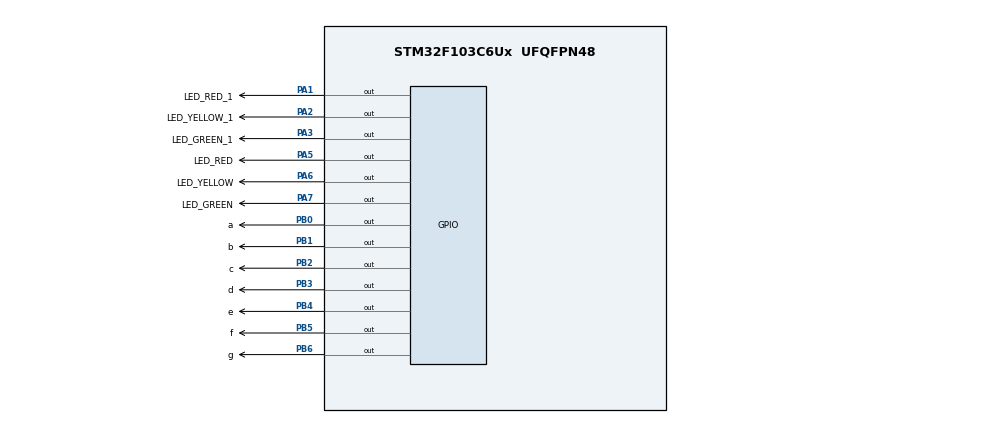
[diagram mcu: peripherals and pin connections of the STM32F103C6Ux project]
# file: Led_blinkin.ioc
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Mcu.Family=STM32F1
Mcu.Name=STM32F103C6Ux
Mcu.Package=UFQFPN48
NVIC.PriorityGroup=NVIC_PRIORITYGROUP_4
PA1.GPIO_Label=LED_RED_1
PA1.Signal=GPIO_Output
PA2.GPIO_Label=LED_YELLOW_1
PA2.Signal=GPIO_Output
PA3.GPIO_Label=LED_GREEN_1
PA3.Signal=GPIO_Output
PA5.GPIO_Label=LED_RED
PA5.Signal=GPIO_Output
PA6.GPIO_Label=LED_YELLOW
PA6.Signal=GPIO_Output
PA7.GPIO_Label=LED_GREEN
PA7.Signal=GPIO_Output
PB0.GPIO_Label=a
PB0.Signal=GPIO_Output
PB1.GPIO_Label=b
PB1.Signal=GPIO_Output
PB2.GPIO_Label=c
PB2.Signal=GPIO_Output
PB3.GPIO_Label=d
PB3.Signal=GPIO_Output
PB4.GPIO_Label=e
PB4.Signal=GPIO_Output
PB5.GPIO_Label=f
PB5.Signal=GPIO_Output
PB6.GPIO_Label=g
PB6.Signal=GPIO_Output
ProjectManager.HeapSize=0x200
ProjectManager.StackSize=0x400
ProjectManager.TargetToolchain=STM32CubeIDE
RCC.APB1Freq_Value=8000000
RCC.APB2Freq_Value=8000000
VP_SYS_VS_ND.Mode=No_Debug
board=custom

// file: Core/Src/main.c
/* USER CODE BEGIN Header */
/**
  ******************************************************************************
  * @file           : main.c
  * @brief          : Main program body
  ******************************************************************************
  * @attention
  *
  * <h2><center>&copy; Copyright (c) 2022 STMicroelectronics.
  * All rights reserved.</center></h2>
  *
  * This software component is licensed by ST under BSD 3-Clause license,
  * the "License"; You may not use this file except in compliance with the
  * License. You may obtain a copy of the License at:
  *                        opensource.org/licenses/BSD-3-Clause
  *
  ******************************************************************************
  */
/* USER CODE END Header */
#include "main.h"

void SystemClock_Config(void);
static void MX_GPIO_Init(void);

/* USER CODE BEGIN 0 */
void display7SEG(int numb)
{
	if(numb == 0)
	{
		HAL_GPIO_WritePin(a_GPIO_Port, a_Pin, GPIO_PIN_RESET);
		HAL_GPIO_WritePin(b_GPIO_Port, b_Pin, GPIO_PIN_RESET);
		HAL_GPIO_WritePin(c_GPIO_Port, c_Pin, GPIO_PIN_RESET);
		HAL_GPIO_WritePin(d_GPIO_Port, d_Pin, GPIO_PIN_RESET);
		HAL_GPIO_WritePin(e_GPIO_Port, e_Pin, GPIO_PIN_RESET);
		HAL_GPIO_WritePin(f_GPIO_Port, f_Pin, GPIO_PIN_RESET);
		HAL_GPIO_WritePin(g_GPIO_Port, g_Pin, GPIO_PIN_SET);
	}
	if(numb == 1)
	{
		HAL_GPIO_WritePin(a_GPIO_Port, a_Pin, GPIO_PIN_SET);
		HAL_GPIO_WritePin(b_GPIO_Port, b_Pin, GPIO_PIN_RESET);
		HAL_GPIO_WritePin(c_GPIO_Port, c_Pin, GPIO_PIN_RESET);
		HAL_GPIO_WritePin(d_GPIO_Port, d_Pin, GPIO_PIN_SET);
		HAL_GPIO_WritePin(e_GPIO_Port, e_Pin, GPIO_PIN_SET);
		HAL_GPIO_WritePin(f_GPIO_Port, f_Pin, GPIO_PIN_SET);
		HAL_GPIO_WritePin(g_GPIO_Port, g_Pin, GPIO_PIN_SET);
	}
	if(numb == 2)
	{
		HAL_GPIO_WritePin(a_GPIO_Port, a_Pin, GPIO_PIN_RESET);
		HAL_GPIO_WritePin(b_GPIO_Port, b_Pin, GPIO_PIN_RESET);
		HAL_GPIO_WritePin(c_GPIO_Port, c_Pin, GPIO_PIN_SET);
		HAL_GPIO_WritePin(d_GPIO_Port, d_Pin, GPIO_PIN_RESET);
		HAL_GPIO_WritePin(e_GPIO_Port, e_Pin, GPIO_PIN_RESET);
		HAL_GPIO_WritePin(f_GPIO_Port, f_Pin, GPIO_PIN_SET);
		HAL_GPIO_WritePin(g_GPIO_Port, g_Pin, GPIO_PIN_RESET);
	}
	if(numb == 3)
	{
		HAL_GPIO_WritePin(a_GPIO_Port, a_Pin, GPIO_PIN_RESET);
		HAL_GPIO_WritePin(b_GPIO_Port, b_Pin, GPIO_PIN_RESET);
		HAL_GPIO_WritePin(c_GPIO_Port, c_Pin, GPIO_PIN_RESET);
		HAL_GPIO_WritePin(d_GPIO_Port, d_Pin, GPIO_PIN_RESET);
		HAL_GPIO_WritePin(e_GPIO_Port, e_Pin, GPIO_PIN_SET);
		HAL_GPIO_WritePin(f_GPIO_Port, f_Pin, GPIO_PIN_SET);
		HAL_GPIO_WritePin(g_GPIO_Port, g_Pin, GPIO_PIN_RESET);
	}
	if(numb == 4)
		{
			HAL_GPIO_WritePin(a_GPIO_Port, a_Pin, GPIO_PIN_SET);
			HAL_GPIO_WritePin(b_GPIO_Port, b_Pin, GPIO_PIN_RESET);
			HAL_GPIO_WritePin(c_GPIO_Port, c_Pin, GPIO_PIN_RESET);
			HAL_GPIO_WritePin(d_GPIO_Port, d_Pin, GPIO_PIN_SET);
			HAL_GPIO_WritePin(e_GPIO_Port, e_Pin, GPIO_PIN_SET);
			HAL_GPIO_WritePin(f_GPIO_Port, f_Pin, GPIO_PIN_RESET);
			HAL_GPIO_WritePin(g_GPIO_Port, g_Pin, GPIO_PIN_RESET);
		}
	if(numb == 5)
		{
			HAL_GPIO_WritePin(a_GPIO_Port, a_Pin, GPIO_PIN_RESET);
			HAL_GPIO_WritePin(b_GPIO_Port, b_Pin, GPIO_PIN_SET);
			HAL_GPIO_WritePin(c_GPIO_Port, c_Pin, GPIO_PIN_RESET);
			HAL_GPIO_WritePin(d_GPIO_Port, d_Pin, GPIO_PIN_RESET);
			HAL_GPIO_WritePin(e_GPIO_Port, e_Pin, GPIO_PIN_SET);
			HAL_GPIO_WritePin(f_GPIO_Port, f_Pin, GPIO_PIN_RESET);
			HAL_GPIO_WritePin(g_GPIO_Port, g_Pin, GPIO_PIN_RESET);
		}
	if(numb == 6)
		{
			HAL_GPIO_WritePin(a_GPIO_Port, a_Pin, GPIO_PIN_RESET);
			HAL_GPIO_WritePin(b_GPIO_Port, b_Pin, GPIO_PIN_SET);
			HAL_GPIO_WritePin(c_GPIO_Port, c_Pin, GPIO_PIN_RESET);
			HAL_GPIO_WritePin(d_GPIO_Port, d_Pin, GPIO_PIN_RESET);
			HAL_GPIO_WritePin(e_GPIO_Port, e_Pin, GPIO_PIN_RESET);
			HAL_GPIO_WritePin(f_GPIO_Port, f_Pin, GPIO_PIN_RESET);
			HAL_GPIO_WritePin(g_GPIO_Port, g_Pin, GPIO_PIN_RESET);
		}
	if(numb == 7)
		{
			HAL_GPIO_WritePin(a_GPIO_Port, a_Pin, GPIO_PIN_RESET);
			HAL_GPIO_WritePin(b_GPIO_Port, b_Pin, GPIO_PIN_RESET);
			HAL_GPIO_WritePin(c_GPIO_Port, c_Pin, GPIO_PIN_RESET);
			HAL_GPIO_WritePin(d_GPIO_Port, d_Pin, GPIO_PIN_SET);
			HAL_GPIO_WritePin(e_GPIO_Port, e_Pin, GPIO_PIN_SET);
			HAL_GPIO_WritePin(f_GPIO_Port, f_Pin, GPIO_PIN_SET);
			HAL_GPIO_WritePin(g_GPIO_Port, g_Pin, GPIO_PIN_SET);
		}
	if(numb == 8)
		{
			HAL_GPIO_WritePin(a_GPIO_Port, a_Pin, GPIO_PIN_RESET);
			HAL_GPIO_WritePin(b_GPIO_Port, b_Pin, GPIO_PIN_RESET);
			HAL_GPIO_WritePin(c_GPIO_Port, c_Pin, GPIO_PIN_RESET);
			HAL_GPIO_WritePin(d_GPIO_Port, d_Pin, GPIO_PIN_RESET);
			HAL_GPIO_WritePin(e_GPIO_Port, e_Pin, GPIO_PIN_RESET);
			HAL_GPIO_WritePin(f_GPIO_Port, f_Pin, GPIO_PIN_RESET);
			HAL_GPIO_WritePin(g_GPIO_Port, g_Pin, GPIO_PIN_RESET);
		}
	if(numb == 9)
		{
			HAL_GPIO_WritePin(a_GPIO_Port, a_Pin, GPIO_PIN_RESET);
			HAL_GPIO_WritePin(b_GPIO_Port, b_Pin, GPIO_PIN_RESET);
			HAL_GPIO_WritePin(c_GPIO_Port, c_Pin, GPIO_PIN_RESET);
			HAL_GPIO_WritePin(d_GPIO_Port, d_Pin, GPIO_PIN_RESET);
			HAL_GPIO_WritePin(e_GPIO_Port, e_Pin, GPIO_PIN_SET);
			HAL_GPIO_WritePin(f_GPIO_Port, f_Pin, GPIO_PIN_RESET);
			HAL_GPIO_WritePin(g_GPIO_Port, g_Pin, GPIO_PIN_RESET);
		}

}
/* USER CODE END 0 */

int main(void)
{

  /* MCU Configuration--------------------------------------------------------*/

  /* Reset of all peripherals, Initializes the Flash interface and the Systick. */
  HAL_Init();

  /* Configure the system clock */
  SystemClock_Config();

  /* Initialize all configured peripherals */
  MX_GPIO_Init();

  /* Infinite loop */
  /* USER CODE BEGIN WHILE */
  int counter = 0;
  while (1)
  {
	  if ( counter >= 10) counter = 0;
	  display7SEG ( counter ++) ;
	  HAL_Delay (1000) ;

    /* USER CODE END WHILE */

  }
}

void SystemClock_Config(void)
{
  RCC_OscInitTypeDef RCC_OscInitStruct = {0};
  RCC_ClkInitTypeDef RCC_ClkInitStruct = {0};

  /** Initializes the RCC Oscillators according to the specified parameters
  * in the RCC_OscInitTypeDef structure.
  */
  RCC_OscInitStruct.OscillatorType = RCC_OSCILLATORTYPE_HSI;
  RCC_OscInitStruct.HSIState = RCC_HSI_ON;
  RCC_OscInitStruct.HSICalibrationValue = RCC_HSICALIBRATION_DEFAULT;
  RCC_OscInitStruct.PLL.PLLState = RCC_PLL_NONE;
  if (HAL_RCC_OscConfig(&RCC_OscInitStruct) != HAL_OK)
  {
    Error_Handler();
  }
  /** Initializes the CPU, AHB and APB buses clocks
  */
  RCC_ClkInitStruct.ClockType = RCC_CLOCKTYPE_HCLK|RCC_CLOCKTYPE_SYSCLK
                              |RCC_CLOCKTYPE_PCLK1|RCC_CLOCKTYPE_PCLK2;
  RCC_ClkInitStruct.SYSCLKSource = RCC_SYSCLKSOURCE_HSI;
  RCC_ClkInitStruct.AHBCLKDivider = RCC_SYSCLK_DIV1;
  RCC_ClkInitStruct.APB1CLKDivider = RCC_HCLK_DIV1;
  RCC_ClkInitStruct.APB2CLKDivider = RCC_HCLK_DIV1;

  if (HAL_RCC_ClockConfig(&RCC_ClkInitStruct, FLASH_LATENCY_0) != HAL_OK)
  {
    Error_Handler();
  }
}

static void MX_GPIO_Init(void)
{
  GPIO_InitTypeDef GPIO_InitStruct = {0};

  /* GPIO Ports Clock Enable */
  __HAL_RCC_GPIOA_CLK_ENABLE();
  __HAL_RCC_GPIOB_CLK_ENABLE();

  /*Configure GPIO pin Output Level */
  HAL_GPIO_WritePin(GPIOA, LED_RED_1_Pin|LED_YELLOW_1_Pin|LED_GREEN_1_Pin|LED_RED_Pin
                          |LED_YELLOW_Pin|LED_GREEN_Pin, GPIO_PIN_RESET);

  /*Configure GPIO pin Output Level */
  HAL_GPIO_WritePin(GPIOB, a_Pin|b_Pin|c_Pin|d_Pin
                          |e_Pin|f_Pin|g_Pin, GPIO_PIN_RESET);

  /*Configure GPIO pins : LED_RED_1_Pin LED_YELLOW_1_Pin LED_GREEN_1_Pin LED_RED_Pin
                           LED_YELLOW_Pin LED_GREEN_Pin */
  GPIO_InitStruct.Pin = LED_RED_1_Pin|LED_YELLOW_1_Pin|LED_GREEN_1_Pin|LED_RED_Pin
                          |LED_YELLOW_Pin|LED_GREEN_Pin;
  GPIO_InitStruct.Mode = GPIO_MODE_OUTPUT_PP;
  GPIO_InitStruct.Pull = GPIO_NOPULL;
  GPIO_InitStruct.Speed = GPIO_SPEED_FREQ_LOW;
  HAL_GPIO_Init(GPIOA, &GPIO_InitStruct);

  /*Configure GPIO pins : a_Pin b_Pin c_Pin d_Pin
                           e_Pin f_Pin g_Pin */
  GPIO_InitStruct.Pin = a_Pin|b_Pin|c_Pin|d_Pin
                          |e_Pin|f_Pin|g_Pin;
  GPIO_InitStruct.Mode = GPIO_MODE_OUTPUT_PP;
  GPIO_InitStruct.Pull = GPIO_NOPULL;
  GPIO_InitStruct.Speed = GPIO_SPEED_FREQ_LOW;
  HAL_GPIO_Init(GPIOB, &GPIO_InitStruct);

}

void Error_Handler(void)
{
  __disable_irq();
  while (1)
  {
  }
}

/************************ (C) COPYRIGHT STMicroelectronics *****END OF FILE****/
